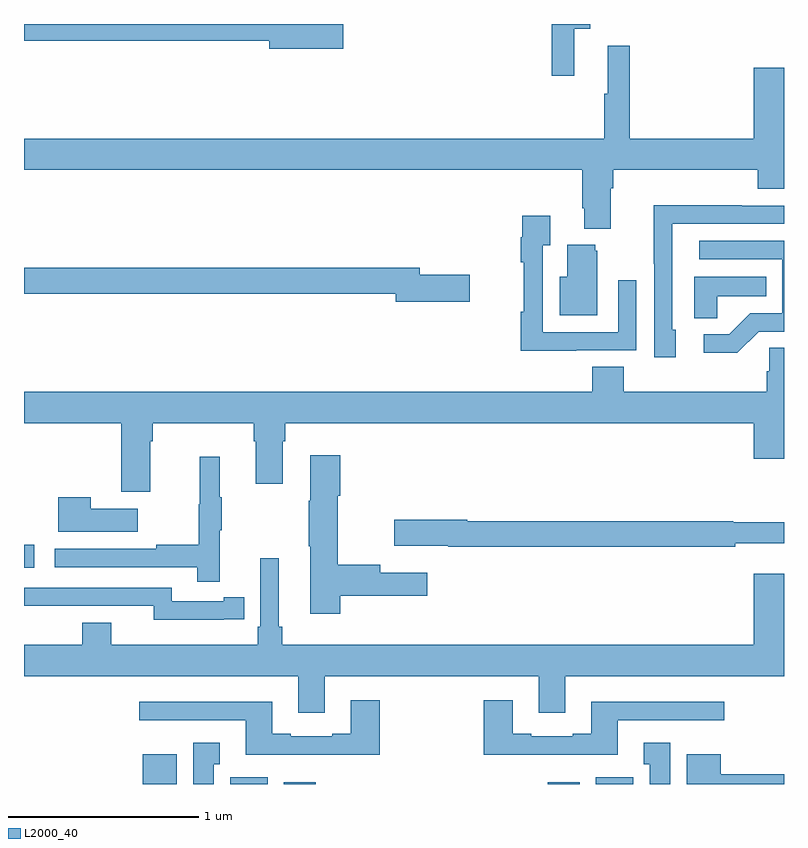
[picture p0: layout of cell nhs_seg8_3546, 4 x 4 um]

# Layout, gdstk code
import gdstk
lib = gdstk.Library(unit=1e-6, precision=1e-09)
def R(c, l, rs):  # rectangles x0, y0, x1, y1
    for r in rs: c.add(gdstk.rectangle(r[:2], r[2:], *l))
def P(c, l, *ps):  # polygons
    for p in ps: c.add(gdstk.Polygon(p, *l))
L2000_40 = (2000, 40)

nhs_seg8_3546 = lib.new_cell('nhs_seg8_3546')
R(nhs_seg8_3546, L2000_40, [(329.624,1147.9,329.803,1148.056), (330.086,1147.9,330.283,1147.936), (330.368,1147.9,330.535,1147.909), (331.757,1147.9,331.924,1147.909), (332.009,1147.9,332.206,1147.936), (329,1149.039,329.053,1149.159)])
P(nhs_seg8_3546, L2000_40, [(331.895,1151.876),(331.981,1151.876),(331.981,1151.9),(331.777,1151.9),(331.777,1151.628),(331.895,1151.628)],
  [(330.679,1151.9),(329,1151.9),(329,1151.812),(330.29,1151.812),(330.29,1151.77),(330.679,1151.77)],
  [(332.089,1151.036),(332.102,1151.036),(332.102,1151.132),(332.861,1151.132),(332.861,1151.033),(333,1151.033),(333,1151.671),(332.84,1151.671),(332.84,1151.296),(332.189,1151.296),(332.189,1151.785),(332.072,1151.785),(332.072,1151.532),(332.053,1151.532),(332.053,1151.296),(329,1151.296),(329,1151.132),(331.937,1151.132),(331.937,1150.93),(331.949,1150.93),(331.949,1150.823),(332.089,1150.823)],
  [(332.431,1150.29),(332.412,1150.29),(332.412,1150.848),(333,1150.848),(333,1150.944),(332.777,1150.944),(332.777,1150.946),(332.314,1150.946),(332.314,1150.639),(332.316,1150.639),(332.316,1150.146),(332.431,1150.146)],
  [(331.907,1150.182),(332.223,1150.182),(332.223,1150.552),(332.127,1150.552),(332.127,1150.278),(331.731,1150.278),(331.731,1150.735),(331.771,1150.735),(331.771,1150.891),(331.623,1150.891),(331.623,1150.778),(331.615,1150.778),(331.615,1150.646),(331.63,1150.646),(331.63,1150.385),(331.615,1150.385),(331.615,1150.181),(331.907,1150.181)],
  [(332.868,1150.281),(333,1150.281),(333,1150.758),(332.553,1150.758),(332.553,1150.662),(332.991,1150.662),(332.991,1150.377),(332.822,1150.377),(332.711,1150.266),(332.577,1150.266),(332.577,1150.169),(332.755,1150.169)],
  [(332.017,1150.707),(332.006,1150.707),(332.006,1150.738),(331.859,1150.738),(331.859,1150.57),(331.82,1150.57),(331.82,1150.367),(332.017,1150.367)],
  [(331.345,1150.58),(331.084,1150.58),(331.084,1150.616),(329,1150.616),(329,1150.48),(330.956,1150.48),(330.956,1150.438),(331.345,1150.438)],
  [(332.649,1150.466),(332.906,1150.466),(332.906,1150.57),(332.528,1150.57),(332.528,1150.351),(332.649,1150.351)],
  [(329.665,1149.704),(329.678,1149.704),(329.678,1149.8),(330.209,1149.8),(330.209,1149.704),(330.221,1149.704),(330.221,1149.48),(330.361,1149.48),(330.361,1149.704),(330.374,1149.704),(330.374,1149.8),(332.84,1149.8),(332.84,1149.612),(333,1149.612),(333,1150.196),(332.922,1150.196),(332.922,1150.073),(332.909,1150.073),(332.909,1149.964),(332.156,1149.964),(332.156,1150.097),(331.991,1150.097),(331.991,1149.964),(329,1149.964),(329,1149.8),(329.513,1149.8),(329.513,1149.438),(329.665,1149.438)],
  [(330.665,1148.891),(331.123,1148.891),(331.123,1149.013),(330.874,1149.013),(330.874,1149.055),(330.652,1149.055),(330.652,1149.418),(330.665,1149.418),(330.665,1149.631),(330.506,1149.631),(330.506,1149.392),(330.499,1149.392),(330.499,1149.151),(330.506,1149.151),(330.506,1148.796),(330.665,1148.796)],
  [(330.029,1149.235),(330.04,1149.235),(330.04,1149.409),(330.029,1149.409),(330.029,1149.622),(329.926,1149.622),(329.926,1149.372),(329.919,1149.372),(329.919,1149.158),(329.695,1149.158),(329.695,1149.138),(329.163,1149.138),(329.163,1149.042),(329.911,1149.042),(329.911,1148.964),(330.029,1148.964)],
  [(329.599,1149.349),(329.351,1149.349),(329.351,1149.409),(329.18,1149.409),(329.18,1149.227),(329.599,1149.227)],
  [(332.744,1149.167),(333,1149.167),(333,1149.277),(332.732,1149.277),(332.732,1149.284),(331.332,1149.284),(331.332,1149.29),(330.948,1149.29),(330.948,1149.155),(331.232,1149.155),(331.232,1149.148),(332.744,1149.148)],
  [(330.583,1148.468),(331.709,1148.468),(331.709,1148.274),(331.849,1148.274),(331.849,1148.468),(333,1148.468),(333,1149.007),(332.84,1149.007),(332.84,1148.632),(330.359,1148.632),(330.359,1148.728),(330.34,1148.728),(330.34,1149.088),(330.243,1149.088),(330.243,1148.728),(330.23,1148.728),(330.23,1148.632),(329.458,1148.632),(329.458,1148.749),(329.306,1148.749),(329.306,1148.632),(329,1148.632),(329,1148.468),(330.443,1148.468),(330.443,1148.274),(330.583,1148.274)],
  [(330.05,1148.766),(330.158,1148.766),(330.158,1148.882),(330.05,1148.882),(330.05,1148.862),(329.778,1148.862),(329.778,1148.934),(329,1148.934),(329,1148.837),(329.222,1148.837),(329.222,1148.838),(329.682,1148.838),(329.682,1148.765),(330.05,1148.765)],
  [(330.872,1148.341),(330.719,1148.341),(330.719,1148.164),(330.623,1148.164),(330.623,1148.151),(330.403,1148.151),(330.403,1148.164),(330.307,1148.164),(330.307,1148.332),(329.607,1148.332),(329.607,1148.235),(330.167,1148.235),(330.167,1148.054),(330.872,1148.054)],
  [(332.125,1148.235),(332.686,1148.235),(332.686,1148.332),(331.985,1148.332),(331.985,1148.164),(331.889,1148.164),(331.889,1148.151),(331.669,1148.151),(331.669,1148.164),(331.573,1148.164),(331.573,1148.341),(331.421,1148.341),(331.421,1148.054),(332.125,1148.054)],
  [(332.401,1148.116),(332.261,1148.116),(332.261,1148.003),(332.294,1148.003),(332.294,1147.9),(332.401,1147.9)],
  [(329.998,1148.003),(330.031,1148.003),(330.031,1148.116),(329.891,1148.116),(329.891,1147.9),(329.998,1147.9)],
  [(333,1147.952),(332.668,1147.952),(332.668,1148.056),(332.489,1148.056),(332.489,1147.9),(333,1147.9)])

lib.write_gds('nhs_seg8_3546.gds')
